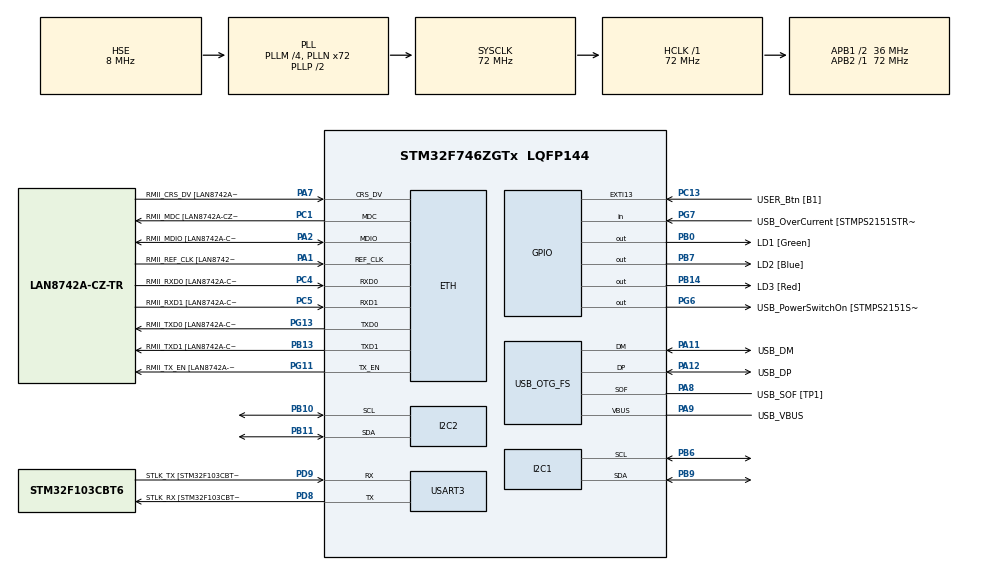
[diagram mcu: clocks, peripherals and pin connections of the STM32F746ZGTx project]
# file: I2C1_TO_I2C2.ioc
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ETH.MediaInterface=ETH_MEDIA_INTERFACE_RMII
ETH.PHY_Name=LAN8742A_PHY_ADDRESS
ETH.PHY_Value=0
ETH.PhyAddress=0
I2C1.OwnAddress=0
I2C1.Timing=0x00808CD2
I2C2.OwnAddress=21
I2C2.Timing=0x00808CD2
Mcu.Family=STM32F7
Mcu.Name=STM32F746ZGTx
Mcu.Package=LQFP144
NVIC.EXTI15_10_IRQn=true\:0\:0\:false\:false\:true\:true\:true
NVIC.I2C1_EV_IRQn=true\:0\:0\:false\:false\:true\:true\:true
NVIC.I2C2_EV_IRQn=true\:0\:0\:false\:false\:true\:true\:true
NVIC.PriorityGroup=NVIC_PRIORITYGROUP_4
PA1.GPIO_Label=RMII_REF_CLK [LAN8742A-CZ-TR_REFCLK0]
PA1.Mode=RMII
PA1.Signal=ETH_REF_CLK
PA10.GPIO_Label=USB_ID
PA10.Signal=USB_OTG_FS_ID
PA11.GPIO_Label=USB_DM
PA11.Mode=Device_Only
PA11.Signal=USB_OTG_FS_DM
PA12.GPIO_Label=USB_DP
PA12.Mode=Device_Only
PA12.Signal=USB_OTG_FS_DP
PA13.GPIO_Label=TMS
PA13.Mode=Serial_Wire
PA13.Signal=SYS_JTMS-SWDIO
PA14.GPIO_Label=TCK
PA14.Mode=Serial_Wire
PA14.Signal=SYS_JTCK-SWCLK
PA2.GPIO_Label=RMII_MDIO [LAN8742A-CZ-TR_MDIO]
PA2.Mode=RMII
PA2.Signal=ETH_MDIO
PA7.GPIO_Label=RMII_CRS_DV [LAN8742A-CZ-TR_CRS_DV]
PA7.Mode=RMII
PA7.Signal=ETH_CRS_DV
PA8.GPIO_Label=USB_SOF [TP1]
PA8.Mode=Activate_SOF_FS
PA8.Signal=USB_OTG_FS_SOF
PA9.GPIO_Label=USB_VBUS
PA9.Mode=Activate_VBUS
PA9.Signal=USB_OTG_FS_VBUS
PB0.GPIO_Label=LD1 [Green]
PB0.Signal=GPIO_Output
PB10.GPIO_Pu=GPIO_PULLUP
PB10.Mode=I2C
PB10.Signal=I2C2_SCL
PB11.GPIO_Pu=GPIO_PULLUP
PB11.Mode=I2C
PB11.Signal=I2C2_SDA
PB13.GPIO_Label=RMII_TXD1 [LAN8742A-CZ-TR_TXD1]
PB13.Mode=RMII
PB13.Signal=ETH_TXD1
PB14.GPIO_Label=LD3 [Red]
PB14.Signal=GPIO_Output
PB3.GPIO_Label=SW0
PB3.Signal=SYS_JTDO-SWO
PB6.GPIO_Pu=GPIO_PULLUP
PB6.Mode=I2C
PB6.Signal=I2C1_SCL
PB7.GPIO_Label=LD2 [Blue]
PB7.Signal=GPIO_Output
PB9.GPIO_Pu=GPIO_PULLUP
PB9.Mode=I2C
PB9.Signal=I2C1_SDA
PC1.GPIO_Label=RMII_MDC [LAN8742A-CZ-TR_MDC]
PC1.Mode=RMII
PC1.Signal=ETH_MDC
PC13.GPIO_Label=USER_Btn [B1]
PC13.Signal=GPXTI13
PC14/OSC32_IN.Mode=LSE-External-Oscillator
PC14/OSC32_IN.Signal=RCC_OSC32_IN
PC15/OSC32_OUT.Mode=LSE-External-Oscillator
PC15/OSC32_OUT.Signal=RCC_OSC32_OUT
PC4.GPIO_Label=RMII_RXD0 [LAN8742A-CZ-TR_RXD0]
PC4.Mode=RMII
PC4.Signal=ETH_RXD0
PC5.GPIO_Label=RMII_RXD1 [LAN8742A-CZ-TR_RXD1]
PC5.Mode=RMII
PC5.Signal=ETH_RXD1
PD8.GPIO_Label=STLK_RX [STM32F103CBT6_PA3]
PD8.Mode=Asynchronous
PD8.Signal=USART3_TX
PD9.GPIO_Label=STLK_TX [STM32F103CBT6_PA2]
PD9.Mode=Asynchronous
PD9.Signal=USART3_RX
PG11.GPIO_Label=RMII_TX_EN [LAN8742A-CZ-TR_TXEN]
PG11.Mode=RMII
PG11.Signal=ETH_TX_EN
PG13.GPIO_Label=RMII_TXD0 [LAN8742A-CZ-TR_TXD0]
PG13.Mode=RMII
PG13.Signal=ETH_TXD0
PG6.GPIO_Label=USB_PowerSwitchOn [STMPS2151STR_EN]
PG6.Signal=GPIO_Output
PG7.GPIO_Label=USB_OverCurrent [STMPS2151STR_FAULT]
PG7.Signal=GPIO_Input
PH0/OSC_IN.GPIO_Label=MCO [STM32F103CBT6_PA8]
PH0/OSC_IN.Mode=HSE-External-Clock-Source
PH0/OSC_IN.Signal=RCC_OSC_IN
PH1/OSC_OUT.Mode=HSE-External-Clock-Source
PH1/OSC_OUT.Signal=RCC_OSC_OUT
ProjectManager.HeapSize=0x200
ProjectManager.StackSize=0x400
ProjectManager.TargetToolchain=STM32CubeIDE
RCC.48MHZClocksFreq_Value=24000000
RCC.AHBFreq_Value=72000000
RCC.APB1CLKDivider=RCC_HCLK_DIV2
RCC.APB1Freq_Value=36000000
RCC.APB1TimFreq_Value=72000000
RCC.APB2Freq_Value=72000000
RCC.APB2TimFreq_Value=72000000
RCC.CortexFreq_Value=72000000
RCC.HCLKFreq_Value=72000000
RCC.HSE_VALUE=8000000
RCC.HSI_VALUE=16000000
RCC.PLLM=4
RCC.PLLMUL=RCC_PLL_MUL9
RCC.PLLN=72
RCC.PLLQ=3
RCC.PRESCALERUSB=RCC_USBCLKSOURCE_PLL_DIV1_5
RCC.SYSCLKFreq_VALUE=72000000
RCC.SYSCLKSource=RCC_SYSCLKSOURCE_PLLCLK
RCC.SYSCLKSourceVirtual=RCC_SYSCLKSOURCE_PLLCLK
RCC.USBFreq_Value=48000000
RCC.VCOOutputFreq_Value=144000000
USART3.VirtualMode-Asynchronous=VM_ASYNC
USB_OTG_FS.VirtualMode=Device_Only
board=NUCLEO-F746ZG

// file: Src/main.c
/* USER CODE BEGIN Header */
/**
  ******************************************************************************
  * @file           : main.c
  * @brief          : Main program body
  ******************************************************************************
  * @attention
  *
  * <h2><center>&copy; Copyright (c) 2020 STMicroelectronics.
  * All rights reserved.</center></h2>
  *
  * This software component is licensed by ST under BSD 3-Clause license,
  * the "License"; You may not use this file except in compliance with the
  * License. You may obtain a copy of the License at:
  *                        opensource.org/licenses/BSD-3-Clause
  *
  ******************************************************************************
  */
/* USER CODE END Header */
#include "main.h"

/* USER CODE BEGIN Includes */
#include <stdio.h>
#include <string.h>

/* USER CODE END Includes */

ETH_HandleTypeDef heth;

I2C_HandleTypeDef hi2c1;
I2C_HandleTypeDef hi2c2;

UART_HandleTypeDef huart3;

PCD_HandleTypeDef hpcd_USB_OTG_FS;

/* USER CODE BEGIN PV */
uint8_t data_rsv1[20];
/* USER CODE END PV */

void SystemClock_Config(void);
static void MX_GPIO_Init(void);
static void MX_ETH_Init(void);
static void MX_I2C1_Init(void);
static void MX_I2C2_Init(void);
static void MX_USART3_UART_Init(void);
static void MX_USB_OTG_FS_PCD_Init(void);

/* USER CODE BEGIN 0 */
/**
 * This function allows to reset following callbacks:
       (+) MasterTxCpltCallback : callback for Master transmission end of transfer.
       (+) MasterRxCpltCallback : callback for Master reception end of transfer.
       (+) SlaveTxCpltCallback  : callback for Slave transmission end of transfer.
       (+) SlaveRxCpltCallback  : callback for Slave reception end of transfer.
       (+) ListenCpltCallback   : callback for end of listen mode.
       (+) MemTxCpltCallback    : callback for Memory transmission end of transfer.
       (+) MemRxCpltCallback    : callback for Memory reception end of transfer.
       (+) ErrorCallback        : callback for error detection.
       (+) AbortCpltCallback    : callback for abort completion process.
       (+) MspInitCallback      : callback for Msp Init.
       (+) MspDeInitCallback    : callback for Msp DeInit.
 *
 */

void HAL_I2C_SlaveRxCpltCallback(I2C_HandleTypeDef *hi2c)
{
	 HAL_I2C_Slave_Receive_IT(&hi2c2, data_rsv1, 4);
}
void HAL_I2C_ErrorCallback(I2C_HandleTypeDef *hi2c)
{
  /* Prevent unused argument(s) compilation warning */
  UNUSED(hi2c);

  /* NOTE : This function should not be modified, when the callback is needed,
            the HAL_I2C_ErrorCallback could be implemented in the user file
   */
}

/* USER CODE END 0 */

int main(void)
{
  /* USER CODE BEGIN 1 */
	  uint8_t data_tr[20]="12345678",buf[200];

  /* USER CODE END 1 */

  /* MCU Configuration--------------------------------------------------------*/

  /* Reset of all peripherals, Initializes the Flash interface and the Systick. */
  HAL_Init();

  /* Configure the system clock */
  SystemClock_Config();

  /* Initialize all configured peripherals */
  MX_GPIO_Init();
  MX_ETH_Init();
  MX_I2C1_Init();
  MX_I2C2_Init();
  MX_USART3_UART_Init();
  MX_USB_OTG_FS_PCD_Init();

  /* Infinite loop */
  /* USER CODE BEGIN WHILE */
  HAL_I2C_Slave_Receive_IT(&hi2c2, data_rsv1, 4);
  while (1)
  {
		  data_tr[0]++;
	  //data_tr %=255;
	  HAL_I2C_Master_Transmit(&hi2c1, 42, data_tr, 4, 100);
	  if(hi2c2.State != HAL_I2C_STATE_READY)
	  {
	//	  HAL_I2C_DeInit (&hi2c2);
		  MX_I2C2_Init();
		  HAL_I2C_Slave_Receive_IT(&hi2c2, data_rsv1, 4);
	  }

	  if(data_rsv1[0]%3==0)
		  HAL_GPIO_TogglePin(LD1_GPIO_Port,LD1_Pin);
	  else if(data_rsv1[0]%3==1)
		  HAL_GPIO_TogglePin(LD2_GPIO_Port,LD2_Pin);
	  else if(data_rsv1[0]%3==2)
		  HAL_GPIO_TogglePin(LD3_GPIO_Port,LD3_Pin);

    /* USER CODE END WHILE */

    /* USER CODE BEGIN 3 */
	  sprintf((char*)buf,"get value %s  \n\r", data_rsv1);
	  HAL_UART_Transmit(&huart3, buf, strlen((char*)buf), 100);
	  HAL_Delay(1000);
  }
  /* USER CODE END 3 */
}

void SystemClock_Config(void)
{
  RCC_OscInitTypeDef RCC_OscInitStruct = {0};
  RCC_ClkInitTypeDef RCC_ClkInitStruct = {0};
  RCC_PeriphCLKInitTypeDef PeriphClkInitStruct = {0};

  /** Configure LSE Drive Capability
  */
  HAL_PWR_EnableBkUpAccess();
  /** Configure the main internal regulator output voltage
  */
  __HAL_RCC_PWR_CLK_ENABLE();
  __HAL_PWR_VOLTAGESCALING_CONFIG(PWR_REGULATOR_VOLTAGE_SCALE3);
  /** Initializes the RCC Oscillators according to the specified parameters
  * in the RCC_OscInitTypeDef structure.
  */
  RCC_OscInitStruct.OscillatorType = RCC_OSCILLATORTYPE_HSE;
  RCC_OscInitStruct.HSEState = RCC_HSE_BYPASS;
  RCC_OscInitStruct.PLL.PLLState = RCC_PLL_ON;
  RCC_OscInitStruct.PLL.PLLSource = RCC_PLLSOURCE_HSE;
  RCC_OscInitStruct.PLL.PLLM = 4;
  RCC_OscInitStruct.PLL.PLLN = 72;
  RCC_OscInitStruct.PLL.PLLP = RCC_PLLP_DIV2;
  RCC_OscInitStruct.PLL.PLLQ = 3;
  if (HAL_RCC_OscConfig(&RCC_OscInitStruct) != HAL_OK)
  {
    Error_Handler();
  }
  /** Initializes the CPU, AHB and APB buses clocks
  */
  RCC_ClkInitStruct.ClockType = RCC_CLOCKTYPE_HCLK|RCC_CLOCKTYPE_SYSCLK
                              |RCC_CLOCKTYPE_PCLK1|RCC_CLOCKTYPE_PCLK2;
  RCC_ClkInitStruct.SYSCLKSource = RCC_SYSCLKSOURCE_PLLCLK;
  RCC_ClkInitStruct.AHBCLKDivider = RCC_SYSCLK_DIV1;
  RCC_ClkInitStruct.APB1CLKDivider = RCC_HCLK_DIV2;
  RCC_ClkInitStruct.APB2CLKDivider = RCC_HCLK_DIV1;

  if (HAL_RCC_ClockConfig(&RCC_ClkInitStruct, FLASH_LATENCY_2) != HAL_OK)
  {
    Error_Handler();
  }
  PeriphClkInitStruct.PeriphClockSelection = RCC_PERIPHCLK_USART3|RCC_PERIPHCLK_I2C1
                              |RCC_PERIPHCLK_I2C2|RCC_PERIPHCLK_CLK48;
  PeriphClkInitStruct.Usart3ClockSelection = RCC_USART3CLKSOURCE_PCLK1;
  PeriphClkInitStruct.I2c1ClockSelection = RCC_I2C1CLKSOURCE_PCLK1;
  PeriphClkInitStruct.I2c2ClockSelection = RCC_I2C2CLKSOURCE_PCLK1;
  PeriphClkInitStruct.Clk48ClockSelection = RCC_CLK48SOURCE_PLL;
  if (HAL_RCCEx_PeriphCLKConfig(&PeriphClkInitStruct) != HAL_OK)
  {
    Error_Handler();
  }
}

static void MX_ETH_Init(void)
{

   static uint8_t MACAddr[6];

  heth.Instance = ETH;
  heth.Init.AutoNegotiation = ETH_AUTONEGOTIATION_ENABLE;
  heth.Init.Speed = ETH_SPEED_100M;
  heth.Init.DuplexMode = ETH_MODE_FULLDUPLEX;
  heth.Init.PhyAddress = LAN8742A_PHY_ADDRESS;
  MACAddr[0] = 0x00;
  MACAddr[1] = 0x80;
  MACAddr[2] = 0xE1;
  MACAddr[3] = 0x00;
  MACAddr[4] = 0x00;
  MACAddr[5] = 0x00;
  heth.Init.MACAddr = &MACAddr[0];
  heth.Init.RxMode = ETH_RXPOLLING_MODE;
  heth.Init.ChecksumMode = ETH_CHECKSUM_BY_HARDWARE;
  heth.Init.MediaInterface = ETH_MEDIA_INTERFACE_RMII;

  if (HAL_ETH_Init(&heth) != HAL_OK)
  {
    Error_Handler();
  }

}

static void MX_I2C1_Init(void)
{

  hi2c1.Instance = I2C1;
  hi2c1.Init.Timing = 0x00808CD2;
  hi2c1.Init.OwnAddress1 = 0;
  hi2c1.Init.AddressingMode = I2C_ADDRESSINGMODE_7BIT;
  hi2c1.Init.DualAddressMode = I2C_DUALADDRESS_DISABLE;
  hi2c1.Init.OwnAddress2 = 0;
  hi2c1.Init.OwnAddress2Masks = I2C_OA2_NOMASK;
  hi2c1.Init.GeneralCallMode = I2C_GENERALCALL_DISABLE;
  hi2c1.Init.NoStretchMode = I2C_NOSTRETCH_DISABLE;
  if (HAL_I2C_Init(&hi2c1) != HAL_OK)
  {
    Error_Handler();
  }
  /** Configure Analogue filter
  */
  if (HAL_I2CEx_ConfigAnalogFilter(&hi2c1, I2C_ANALOGFILTER_ENABLE) != HAL_OK)
  {
    Error_Handler();
  }
  /** Configure Digital filter
  */
  if (HAL_I2CEx_ConfigDigitalFilter(&hi2c1, 0) != HAL_OK)
  {
    Error_Handler();
  }

}

static void MX_I2C2_Init(void)
{

  hi2c2.Instance = I2C2;
  hi2c2.Init.Timing = 0x00808CD2;
  hi2c2.Init.OwnAddress1 = 42;
  hi2c2.Init.AddressingMode = I2C_ADDRESSINGMODE_7BIT;
  hi2c2.Init.DualAddressMode = I2C_DUALADDRESS_DISABLE;
  hi2c2.Init.OwnAddress2 = 0;
  hi2c2.Init.OwnAddress2Masks = I2C_OA2_NOMASK;
  hi2c2.Init.GeneralCallMode = I2C_GENERALCALL_DISABLE;
  hi2c2.Init.NoStretchMode = I2C_NOSTRETCH_DISABLE;
  if (HAL_I2C_Init(&hi2c2) != HAL_OK)
  {
    Error_Handler();
  }
  /** Configure Analogue filter
  */
  if (HAL_I2CEx_ConfigAnalogFilter(&hi2c2, I2C_ANALOGFILTER_ENABLE) != HAL_OK)
  {
    Error_Handler();
  }
  /** Configure Digital filter
  */
  if (HAL_I2CEx_ConfigDigitalFilter(&hi2c2, 0) != HAL_OK)
  {
    Error_Handler();
  }

}

static void MX_USART3_UART_Init(void)
{

  huart3.Instance = USART3;
  huart3.Init.BaudRate = 115200;
  huart3.Init.WordLength = UART_WORDLENGTH_8B;
  huart3.Init.StopBits = UART_STOPBITS_1;
  huart3.Init.Parity = UART_PARITY_NONE;
  huart3.Init.Mode = UART_MODE_TX_RX;
  huart3.Init.HwFlowCtl = UART_HWCONTROL_NONE;
  huart3.Init.OverSampling = UART_OVERSAMPLING_16;
  huart3.Init.OneBitSampling = UART_ONE_BIT_SAMPLE_DISABLE;
  huart3.AdvancedInit.AdvFeatureInit = UART_ADVFEATURE_NO_INIT;
  if (HAL_UART_Init(&huart3) != HAL_OK)
  {
    Error_Handler();
  }

}

static void MX_USB_OTG_FS_PCD_Init(void)
{

  hpcd_USB_OTG_FS.Instance = USB_OTG_FS;
  hpcd_USB_OTG_FS.Init.dev_endpoints = 6;
  hpcd_USB_OTG_FS.Init.speed = PCD_SPEED_FULL;
  hpcd_USB_OTG_FS.Init.dma_enable = DISABLE;
  hpcd_USB_OTG_FS.Init.phy_itface = PCD_PHY_EMBEDDED;
  hpcd_USB_OTG_FS.Init.Sof_enable = ENABLE;
  hpcd_USB_OTG_FS.Init.low_power_enable = DISABLE;
  hpcd_USB_OTG_FS.Init.lpm_enable = DISABLE;
  hpcd_USB_OTG_FS.Init.vbus_sensing_enable = ENABLE;
  hpcd_USB_OTG_FS.Init.use_dedicated_ep1 = DISABLE;
  if (HAL_PCD_Init(&hpcd_USB_OTG_FS) != HAL_OK)
  {
    Error_Handler();
  }

}

static void MX_GPIO_Init(void)
{
  GPIO_InitTypeDef GPIO_InitStruct = {0};

  /* GPIO Ports Clock Enable */
  __HAL_RCC_GPIOC_CLK_ENABLE();
  __HAL_RCC_GPIOH_CLK_ENABLE();
  __HAL_RCC_GPIOA_CLK_ENABLE();
  __HAL_RCC_GPIOB_CLK_ENABLE();
  __HAL_RCC_GPIOD_CLK_ENABLE();
  __HAL_RCC_GPIOG_CLK_ENABLE();

  /*Configure GPIO pin Output Level */
  HAL_GPIO_WritePin(GPIOB, LD1_Pin|LD3_Pin|LD2_Pin, GPIO_PIN_RESET);

  /*Configure GPIO pin Output Level */
  HAL_GPIO_WritePin(USB_PowerSwitchOn_GPIO_Port, USB_PowerSwitchOn_Pin, GPIO_PIN_RESET);

  /*Configure GPIO pin : USER_Btn_Pin */
  GPIO_InitStruct.Pin = USER_Btn_Pin;
  GPIO_InitStruct.Mode = GPIO_MODE_IT_RISING;
  GPIO_InitStruct.Pull = GPIO_NOPULL;
  HAL_GPIO_Init(USER_Btn_GPIO_Port, &GPIO_InitStruct);

  /*Configure GPIO pins : LD1_Pin LD3_Pin LD2_Pin */
  GPIO_InitStruct.Pin = LD1_Pin|LD3_Pin|LD2_Pin;
  GPIO_InitStruct.Mode = GPIO_MODE_OUTPUT_PP;
  GPIO_InitStruct.Pull = GPIO_NOPULL;
  GPIO_InitStruct.Speed = GPIO_SPEED_FREQ_LOW;
  HAL_GPIO_Init(GPIOB, &GPIO_InitStruct);

  /*Configure GPIO pin : USB_PowerSwitchOn_Pin */
  GPIO_InitStruct.Pin = USB_PowerSwitchOn_Pin;
  GPIO_InitStruct.Mode = GPIO_MODE_OUTPUT_PP;
  GPIO_InitStruct.Pull = GPIO_NOPULL;
  GPIO_InitStruct.Speed = GPIO_SPEED_FREQ_LOW;
  HAL_GPIO_Init(USB_PowerSwitchOn_GPIO_Port, &GPIO_InitStruct);

  /*Configure GPIO pin : USB_OverCurrent_Pin */
  GPIO_InitStruct.Pin = USB_OverCurrent_Pin;
  GPIO_InitStruct.Mode = GPIO_MODE_INPUT;
  GPIO_InitStruct.Pull = GPIO_NOPULL;
  HAL_GPIO_Init(USB_OverCurrent_GPIO_Port, &GPIO_InitStruct);

  /* EXTI interrupt init*/
  HAL_NVIC_SetPriority(EXTI15_10_IRQn, 0, 0);
  HAL_NVIC_EnableIRQ(EXTI15_10_IRQn);

}

void Error_Handler(void)
{
}

/************************ (C) COPYRIGHT STMicroelectronics *****END OF FILE****/
